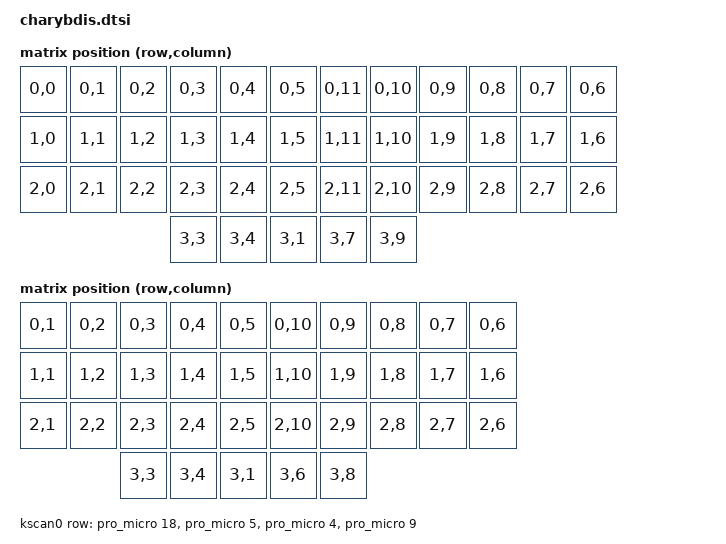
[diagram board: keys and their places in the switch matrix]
#include "charybdis-layouts.dtsi"
#include <dt-bindings/zmk/matrix_transform.h>

/ {

    vbatt: vbatt {
	compatible = "zmk,battery-nrf-vddh";
    };
          
    default_transform: keymap_transform_0 {
        compatible = "zmk,matrix-transform";
        columns = <12>;
        rows = <4>;

        map = <
	RC(0,0) RC(0,1) RC(0,2) RC(0,3) RC(0,4) RC(0,5)  RC(0,11) RC(0,10) RC(0,9) RC(0,8) RC(0,7) RC(0,6)
	RC(1,0) RC(1,1) RC(1,2) RC(1,3) RC(1,4) RC(1,5)  RC(1,11) RC(1,10) RC(1,9) RC(1,8) RC(1,7) RC(1,6)
	RC(2,0) RC(2,1) RC(2,2) RC(2,3) RC(2,4) RC(2,5)  RC(2,11) RC(2,10) RC(2,9) RC(2,8) RC(2,7) RC(2,6)
							RC(3,3) RC(3,4) RC(3,1)  RC(3,7)  RC(3,9)
        >;
    };

    five_column_transform: keymap_transform_1 {
        compatible = "zmk,matrix-transform";
        columns = <10>;
        rows = <4>;

        map = <
	RC(0,1) RC(0,2) RC(0,3) RC(0,4) RC(0,5)  RC(0,10) RC(0,9) RC(0,8) RC(0,7) RC(0,6)
	RC(1,1) RC(1,2) RC(1,3) RC(1,4) RC(1,5)  RC(1,10) RC(1,9) RC(1,8) RC(1,7) RC(1,6)
	RC(2,1) RC(2,2) RC(2,3) RC(2,4) RC(2,5)  RC(2,10) RC(2,9) RC(2,8) RC(2,7) RC(2,6)
					RC(3,3) RC(3,4) RC(3,1)  RC(3,6)  RC(3,8)
        >;
    };
	
    kscan0: kscan {
        compatible = "zmk,kscan-gpio-matrix";
        label = "KSCAN";

        diode-direction = "row2col";
		row-gpios
			= <&pro_micro 18 GPIO_ACTIVE_HIGH>
			, <&pro_micro 5 GPIO_ACTIVE_HIGH>
			, <&pro_micro 4 GPIO_ACTIVE_HIGH>
			, <&pro_micro 9 GPIO_ACTIVE_HIGH>
            ;
    };
};
